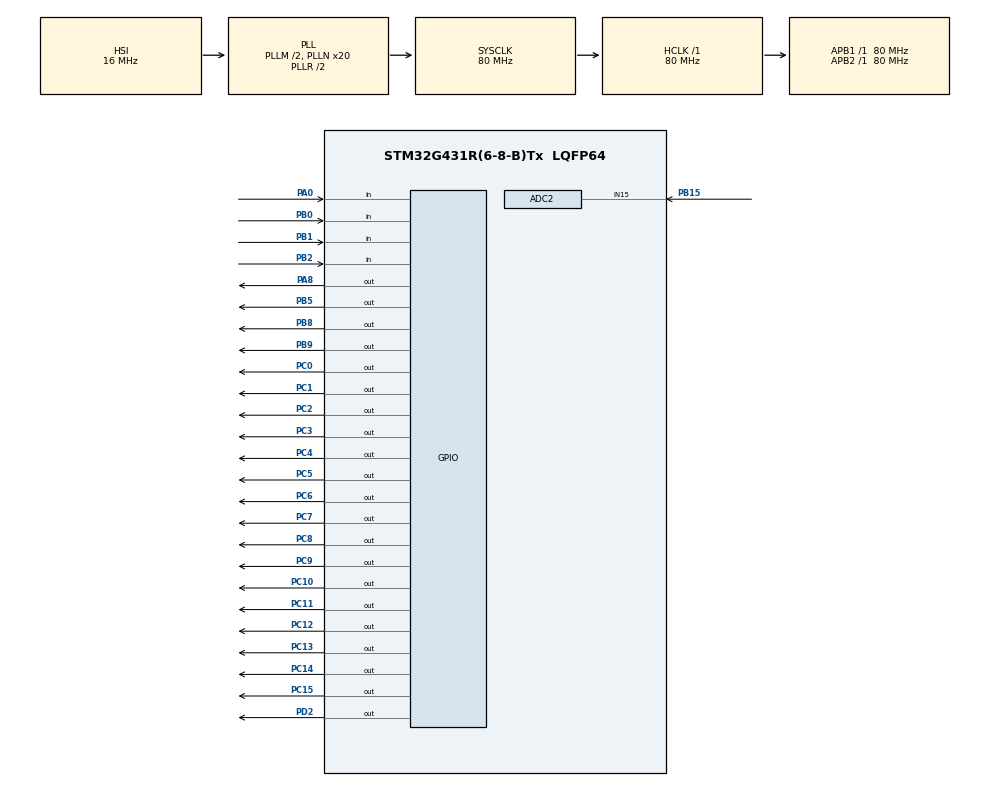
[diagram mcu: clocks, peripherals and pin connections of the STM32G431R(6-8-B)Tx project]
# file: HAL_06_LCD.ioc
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ADC2.Channel-0\#ChannelRegularConversion=ADC_CHANNEL_15
ADC2.NbrOfConversionFlag=1
ADC2.OffsetNumber-0\#ChannelRegularConversion=ADC_OFFSET_NONE
ADC2.Rank-0\#ChannelRegularConversion=1
ADC2.SamplingTime-0\#ChannelRegularConversion=ADC_SAMPLETIME_2CYCLES_5
Mcu.Family=STM32G4
Mcu.Name=STM32G431R(6-8-B)Tx
Mcu.Package=LQFP64
NVIC.PriorityGroup=NVIC_PRIORITYGROUP_4
NVIC.TIM3_IRQn=true\:0\:0\:false\:false\:true\:true\:true\:true
NVIC.TIM4_IRQn=true\:0\:0\:false\:false\:true\:true\:true\:true
PA0.GPIO_Mode=GPIO_MODE_INPUT
PA0.GPIO_PuPd=GPIO_PULLUP
PA0.Signal=GPIO_Input
PA8.Signal=GPIO_Output
PB0.GPIO_Mode=GPIO_MODE_INPUT
PB0.GPIO_PuPd=GPIO_PULLUP
PB0.Signal=GPIO_Input
PB1.GPIO_Mode=GPIO_MODE_INPUT
PB1.GPIO_PuPd=GPIO_PULLUP
PB1.Signal=GPIO_Input
PB15.Mode=IN15-Single-Ended
PB15.Signal=ADC2_IN15
PB2.GPIO_Mode=GPIO_MODE_INPUT
PB2.GPIO_PuPd=GPIO_PULLUP
PB2.Signal=GPIO_Input
PB5.Signal=GPIO_Output
PB8-BOOT0.Signal=GPIO_Output
PB9.Signal=GPIO_Output
PC0.Signal=GPIO_Output
PC1.Signal=GPIO_Output
PC10.GPIO_ModeDefaultOutputPP=GPIO_MODE_OUTPUT_PP
PC10.GPIO_PuPd=GPIO_NOPULL
PC10.GPIO_Speed=GPIO_SPEED_FREQ_LOW
PC10.PinState=GPIO_PIN_SET
PC10.Signal=GPIO_Output
PC11.GPIO_ModeDefaultOutputPP=GPIO_MODE_OUTPUT_PP
PC11.GPIO_PuPd=GPIO_NOPULL
PC11.GPIO_Speed=GPIO_SPEED_FREQ_LOW
PC11.PinState=GPIO_PIN_SET
PC11.Signal=GPIO_Output
PC12.GPIO_ModeDefaultOutputPP=GPIO_MODE_OUTPUT_PP
PC12.GPIO_PuPd=GPIO_NOPULL
PC12.GPIO_Speed=GPIO_SPEED_FREQ_LOW
PC12.PinState=GPIO_PIN_SET
PC12.Signal=GPIO_Output
PC13.GPIO_ModeDefaultOutputPP=GPIO_MODE_OUTPUT_PP
PC13.GPIO_PuPd=GPIO_NOPULL
PC13.GPIO_Speed=GPIO_SPEED_FREQ_LOW
PC13.PinState=GPIO_PIN_SET
PC13.Signal=GPIO_Output
PC14-OSC32_IN.GPIO_ModeDefaultOutputPP=GPIO_MODE_OUTPUT_PP
PC14-OSC32_IN.GPIO_PuPd=GPIO_NOPULL
PC14-OSC32_IN.GPIO_Speed=GPIO_SPEED_FREQ_LOW
PC14-OSC32_IN.PinState=GPIO_PIN_SET
PC14-OSC32_IN.Signal=GPIO_Output
PC15-OSC32_OUT.GPIO_ModeDefaultOutputPP=GPIO_MODE_OUTPUT_PP
PC15-OSC32_OUT.GPIO_PuPd=GPIO_NOPULL
PC15-OSC32_OUT.GPIO_Speed=GPIO_SPEED_FREQ_LOW
PC15-OSC32_OUT.PinState=GPIO_PIN_SET
PC15-OSC32_OUT.Signal=GPIO_Output
PC2.Signal=GPIO_Output
PC3.Signal=GPIO_Output
PC4.Signal=GPIO_Output
PC5.Signal=GPIO_Output
PC6.Signal=GPIO_Output
PC7.Signal=GPIO_Output
PC8.GPIO_ModeDefaultOutputPP=GPIO_MODE_OUTPUT_PP
PC8.GPIO_PuPd=GPIO_NOPULL
PC8.GPIO_Speed=GPIO_SPEED_FREQ_LOW
PC8.PinState=GPIO_PIN_SET
PC8.Signal=GPIO_Output
PC9.GPIO_ModeDefaultOutputPP=GPIO_MODE_OUTPUT_PP
PC9.GPIO_PuPd=GPIO_NOPULL
PC9.GPIO_Speed=GPIO_SPEED_FREQ_LOW
PC9.PinState=GPIO_PIN_SET
PC9.Signal=GPIO_Output
PD2.Signal=GPIO_Output
PF0-OSC_IN.Mode=HSE-External-Oscillator
PF0-OSC_IN.Signal=RCC_OSC_IN
PF1-OSC_OUT.Mode=HSE-External-Oscillator
PF1-OSC_OUT.Signal=RCC_OSC_OUT
ProjectManager.HeapSize=0x200
ProjectManager.StackSize=0x400
ProjectManager.TargetToolchain=MDK-ARM V5.27
RCC.ADC12Freq_Value=80000000
RCC.AHBFreq_Value=80000000
RCC.APB1Freq_Value=80000000
RCC.APB1TimFreq_Value=80000000
RCC.APB2Freq_Value=80000000
RCC.APB2TimFreq_Value=80000000
RCC.CortexFreq_Value=80000000
RCC.EXTERNAL_CLOCK_VALUE=12288000
RCC.HCLKFreq_Value=80000000
RCC.HSE_VALUE=24000000
RCC.HSI48_VALUE=48000000
RCC.HSI_VALUE=16000000
RCC.LSE_VALUE=32768
RCC.PLLM=RCC_PLLM_DIV2
RCC.PLLN=20
RCC.SYSCLKFreq_VALUE=80000000
RCC.SYSCLKSource=RCC_SYSCLKSOURCE_PLLCLK
RCC.USBFreq_Value=80000000
RCC.VCOOutputFreq_Value=160000000
TIM3.PeriodNoDither=10000-1
TIM3.Prescaler=80-1
TIM4.PeriodNoDither=10000-1
TIM4.Prescaler=80-1
VP_SYS_VS_DBSignals.Mode=DisableDeadBatterySignals
VP_TIM3_VS_ClockSourceINT.Mode=Internal
VP_TIM4_VS_ClockSourceINT.Mode=Internal
board=custom

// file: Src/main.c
/* USER CODE BEGIN Header */
/**
  ******************************************************************************
  * @file           : main.c
  * @brief          : Main program body
  ******************************************************************************
  * @attention
  *
  * <h2><center>&copy; Copyright (c) 2021 STMicroelectronics.
  * All rights reserved.</center></h2>
  *
  * This software component is licensed by ST under BSD 3-Clause license,
  * the "License"; You may not use this file except in compliance with the
  * License. You may obtain a copy of the License at:
  *                        opensource.org/licenses/BSD-3-Clause
  *
  ******************************************************************************
  */
/* USER CODE END Header */
#include "main.h"
#include "adc.h"
#include "tim.h"
#include "gpio.h"

/* USER CODE BEGIN PV */
extern struct keys key[4];

uint8_t view=0;//�����л�
float vmax=3.0,vmin=1.0;
float max_temp,min_temp;

extern uint8_t adc_time_s;
extern float adc_value;
//extern uint8_t adc_sta;

/* USER CODE END PV */

void SystemClock_Config(void);
/* USER CODE BEGIN PFP */
void key_proc(void);
void disp_proc(void);
/* USER CODE END PFP */

int main(void)
{

  /* MCU Configuration--------------------------------------------------------*/

  /* Reset of all peripherals, Initializes the Flash interface and the Systick. */
  HAL_Init();

  /* Configure the system clock */
  SystemClock_Config();

  /* Initialize all configured peripherals */
  MX_GPIO_Init();
  MX_TIM3_Init();
  MX_ADC2_Init();
  MX_TIM4_Init();
  /* USER CODE BEGIN 2 */

	LCD_Init();
	HAL_TIM_Base_Start_IT(&htim3);

//	if(get_adc(&hadc2)<vmin)
//		adc_sta=0;
//	if((get_adc(&hadc2)>=vmin)&&(get_adc(&hadc2)<=vmax))
//		adc_sta=1;
//	if(get_adc(&hadc2)>vmax)
//		adc_sta=2;
	HAL_TIM_Base_Start_IT(&htim4);

  /* USER CODE END 2 */

  /* Infinite loop */
  /* USER CODE BEGIN WHILE */

	LCD_Clear(Black);
	LCD_SetBackColor(Black);
	LCD_SetTextColor(White);

//	LCD_DisplayStringLine(Line0, (uint8_t *)"                    ");

  while (1)
  {
    /* USER CODE END WHILE */

    /* USER CODE BEGIN 3 */

		key_proc();
		disp_proc();
  }
  /* USER CODE END 3 */
}

void SystemClock_Config(void)
{
  RCC_OscInitTypeDef RCC_OscInitStruct = {0};
  RCC_ClkInitTypeDef RCC_ClkInitStruct = {0};

  /** Configure the main internal regulator output voltage
  */
  HAL_PWREx_ControlVoltageScaling(PWR_REGULATOR_VOLTAGE_SCALE1);

  /** Initializes the RCC Oscillators according to the specified parameters
  * in the RCC_OscInitTypeDef structure.
  */
  RCC_OscInitStruct.OscillatorType = RCC_OSCILLATORTYPE_HSI;
  RCC_OscInitStruct.HSIState = RCC_HSI_ON;
  RCC_OscInitStruct.HSICalibrationValue = RCC_HSICALIBRATION_DEFAULT;
  RCC_OscInitStruct.PLL.PLLState = RCC_PLL_ON;
  RCC_OscInitStruct.PLL.PLLSource = RCC_PLLSOURCE_HSI;
  RCC_OscInitStruct.PLL.PLLM = RCC_PLLM_DIV2;
  RCC_OscInitStruct.PLL.PLLN = 20;
  RCC_OscInitStruct.PLL.PLLP = RCC_PLLP_DIV2;
  RCC_OscInitStruct.PLL.PLLQ = RCC_PLLQ_DIV2;
  RCC_OscInitStruct.PLL.PLLR = RCC_PLLR_DIV2;
  if (HAL_RCC_OscConfig(&RCC_OscInitStruct) != HAL_OK)
  {
    Error_Handler();
  }

  /** Initializes the CPU, AHB and APB buses clocks
  */
  RCC_ClkInitStruct.ClockType = RCC_CLOCKTYPE_HCLK|RCC_CLOCKTYPE_SYSCLK
                              |RCC_CLOCKTYPE_PCLK1|RCC_CLOCKTYPE_PCLK2;
  RCC_ClkInitStruct.SYSCLKSource = RCC_SYSCLKSOURCE_PLLCLK;
  RCC_ClkInitStruct.AHBCLKDivider = RCC_SYSCLK_DIV1;
  RCC_ClkInitStruct.APB1CLKDivider = RCC_HCLK_DIV1;
  RCC_ClkInitStruct.APB2CLKDivider = RCC_HCLK_DIV1;

  if (HAL_RCC_ClockConfig(&RCC_ClkInitStruct, FLASH_LATENCY_2) != HAL_OK)
  {
    Error_Handler();
  }
}

/* USER CODE BEGIN 4 */
void key_proc()
{
	if(key[0].key_single==1)
	{
		if(view==0)
		{
			max_temp=vmax;
			min_temp=vmin;
			view=1;
		}
		else if(view==1)
		{
			if((int)(vmax*10)/1<(int)((vmin+1)*10)/1)
			{
				vmax=max_temp;
				vmin=min_temp;
			}
			view=0;
		}
		key[0].key_single=0;
	}
	if(key[1].key_single==1)
	{
		if(view==1)
		{
			vmax+=0.1;
			if(vmax>3.3)
				vmax=0;
		}
		key[1].key_single=0;
	}
	if(key[2].key_single==1)
	{
		if(view==1)
		{
			vmin+=0.1;
			if(vmin>3.3)
				vmin=0;
		}
		key[2].key_single=0;
	}
}
void disp_proc()
{
	if(view==0)
	{
		char text[20];
		sprintf(text,"      Data    ");
		LCD_DisplayStringLine(Line0, (uint8_t *)text);
		sprintf(text," V:%.2fV           ",adc_value);
		LCD_DisplayStringLine(Line2, (uint8_t *)text);
		sprintf(text," T:%ds           ",adc_time_s);
		LCD_DisplayStringLine(Line3, (uint8_t *)text);
	}
	if(view==1)
	{
		char text[20];
		sprintf(text,"      Para    ");
		LCD_DisplayStringLine(Line0, (uint8_t *)text);
		sprintf(text," Vmax:%.1fV    ",vmax);
		LCD_DisplayStringLine(Line2, (uint8_t *)text);
		sprintf(text," Vmin:%.1fV    ",vmin);
		LCD_DisplayStringLine(Line3, (uint8_t *)text);
	}
}
/* USER CODE END 4 */

void Error_Handler(void)
{
}
